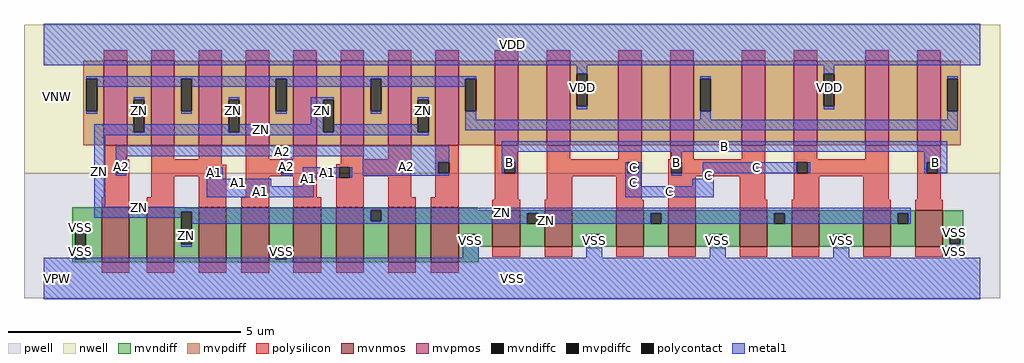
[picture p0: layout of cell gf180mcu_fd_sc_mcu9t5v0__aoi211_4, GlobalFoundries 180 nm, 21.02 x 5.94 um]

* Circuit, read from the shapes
.subckt gf180mcu_fd_sc_mcu9t5v0__aoi211_4 A1 A2 B C ZN VDD VNW VPW VSS
XM1 n1 A2 VSS VPW nfet_06v0 w=1.185u l=0.6u
XM2 ZN A1 n1 VPW nfet_06v0 w=1.185u l=0.6u
XM3 n2 A1 ZN VPW nfet_06v0 w=1.185u l=0.6u
XM4 VSS A2 n2 VPW nfet_06v0 w=1.185u l=0.6u
XM5 n3 A2 VSS VPW nfet_06v0 w=1.185u l=0.6u
XM6 ZN A1 n3 VPW nfet_06v0 w=1.185u l=0.6u
XM7 n4 A1 ZN VPW nfet_06v0 w=1.185u l=0.6u
XM8 VSS A2 n4 VPW nfet_06v0 w=1.185u l=0.6u
XM9 ZN B VSS VPW nfet_06v0 w=0.79u l=0.6u m=4
XM10 VSS C ZN VPW nfet_06v0 w=0.79u l=0.6u m=4
XM11 ZN A2 n5 VNW pfet_06v0 w=1.83u l=0.5u m=4
XM12 n5 A1 ZN VNW pfet_06v0 w=1.83u l=0.5u m=4
XM13 n6 B n5 VNW pfet_06v0 w=1.83u l=0.5u
XM14 VDD C n6 VNW pfet_06v0 w=1.83u l=0.5u
XM15 n7 C VDD VNW pfet_06v0 w=1.83u l=0.5u
XM16 n5 B n7 VNW pfet_06v0 w=1.83u l=0.5u
XM17 n8 B n5 VNW pfet_06v0 w=1.83u l=0.5u
XM18 VDD C n8 VNW pfet_06v0 w=1.83u l=0.5u
XM19 n9 C VDD VNW pfet_06v0 w=1.83u l=0.5u
XM20 n5 B n9 VNW pfet_06v0 w=1.83u l=0.5u
.ends

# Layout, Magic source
magic
tech gf180mcuD
magscale 1 10
<< nwell >>
rect -86 453 4118 1094
<< pwell >>
rect -86 -86 4118 453
<< mvnmos >>
rect 248 69 368 306
rect 442 69 562 306
rect 666 69 786 306
rect 850 69 970 306
rect 1074 69 1194 306
rect 1258 69 1378 306
rect 1482 69 1602 306
rect 1666 69 1786 306
rect 1932 137 2052 295
rect 2156 137 2276 295
rect 2464 137 2584 295
rect 2688 137 2808 295
rect 2996 137 3116 295
rect 3220 137 3340 295
rect 3528 137 3648 295
rect 3752 137 3872 295
<< mvpmos >>
rect 258 573 358 939
rect 462 573 562 939
rect 666 573 766 939
rect 870 573 970 939
rect 1074 573 1174 939
rect 1278 573 1378 939
rect 1482 573 1582 939
rect 1686 573 1786 939
rect 1942 573 2042 939
rect 2166 573 2266 939
rect 2474 573 2574 939
rect 2698 573 2798 939
rect 3006 573 3106 939
rect 3230 573 3330 939
rect 3538 573 3638 939
rect 3762 573 3862 939
<< mvndiff >>
rect 122 222 248 306
rect 122 82 135 222
rect 181 82 248 222
rect 122 69 248 82
rect 368 69 442 306
rect 562 287 666 306
rect 562 147 591 287
rect 637 147 666 287
rect 562 69 666 147
rect 786 69 850 306
rect 970 128 1074 306
rect 970 82 999 128
rect 1045 82 1074 128
rect 970 69 1074 82
rect 1194 69 1258 306
rect 1378 293 1482 306
rect 1378 247 1407 293
rect 1453 247 1482 293
rect 1378 69 1482 247
rect 1602 69 1666 306
rect 1786 295 1866 306
rect 1786 190 1932 295
rect 1786 144 1815 190
rect 1861 144 1932 190
rect 1786 137 1932 144
rect 2052 282 2156 295
rect 2052 236 2081 282
rect 2127 236 2156 282
rect 2052 137 2156 236
rect 2276 190 2464 295
rect 2276 144 2347 190
rect 2393 144 2464 190
rect 2276 137 2464 144
rect 2584 282 2688 295
rect 2584 236 2613 282
rect 2659 236 2688 282
rect 2584 137 2688 236
rect 2808 190 2996 295
rect 2808 144 2879 190
rect 2925 144 2996 190
rect 2808 137 2996 144
rect 3116 282 3220 295
rect 3116 236 3145 282
rect 3191 236 3220 282
rect 3116 137 3220 236
rect 3340 190 3528 295
rect 3340 144 3411 190
rect 3457 144 3528 190
rect 3340 137 3528 144
rect 3648 282 3752 295
rect 3648 236 3677 282
rect 3723 236 3752 282
rect 3648 137 3752 236
rect 3872 196 3960 295
rect 3872 150 3901 196
rect 3947 150 3960 196
rect 3872 137 3960 150
rect 1786 69 1872 137
rect 2336 131 2404 137
rect 2868 131 2936 137
rect 3400 131 3468 137
<< mvpdiff >>
rect 170 861 258 939
rect 170 721 183 861
rect 229 721 258 861
rect 170 573 258 721
rect 358 769 462 939
rect 358 629 387 769
rect 433 629 462 769
rect 358 573 462 629
rect 562 861 666 939
rect 562 721 591 861
rect 637 721 666 861
rect 562 573 666 721
rect 766 769 870 939
rect 766 629 795 769
rect 841 629 870 769
rect 766 573 870 629
rect 970 861 1074 939
rect 970 721 999 861
rect 1045 721 1074 861
rect 970 573 1074 721
rect 1174 769 1278 939
rect 1174 629 1203 769
rect 1249 629 1278 769
rect 1174 573 1278 629
rect 1378 861 1482 939
rect 1378 721 1407 861
rect 1453 721 1482 861
rect 1378 573 1482 721
rect 1582 769 1686 939
rect 1582 629 1611 769
rect 1657 629 1686 769
rect 1582 573 1686 629
rect 1786 861 1942 939
rect 1786 721 1815 861
rect 1861 721 1942 861
rect 1786 573 1942 721
rect 2042 573 2166 939
rect 2266 881 2474 939
rect 2266 741 2295 881
rect 2341 741 2474 881
rect 2266 573 2474 741
rect 2574 573 2698 939
rect 2798 861 3006 939
rect 2798 721 2827 861
rect 2873 721 3006 861
rect 2798 573 3006 721
rect 3106 573 3230 939
rect 3330 881 3538 939
rect 3330 741 3359 881
rect 3405 741 3538 881
rect 3330 573 3538 741
rect 3638 573 3762 939
rect 3862 861 3950 939
rect 3862 721 3891 861
rect 3937 721 3950 861
rect 3862 573 3950 721
<< mvndiffc >>
rect 135 82 181 222
rect 591 147 637 287
rect 999 82 1045 128
rect 1407 247 1453 293
rect 1815 144 1861 190
rect 2081 236 2127 282
rect 2347 144 2393 190
rect 2613 236 2659 282
rect 2879 144 2925 190
rect 3145 236 3191 282
rect 3411 144 3457 190
rect 3677 236 3723 282
rect 3901 150 3947 196
<< mvpdiffc >>
rect 183 721 229 861
rect 387 629 433 769
rect 591 721 637 861
rect 795 629 841 769
rect 999 721 1045 861
rect 1203 629 1249 769
rect 1407 721 1453 861
rect 1611 629 1657 769
rect 1815 721 1861 861
rect 2295 741 2341 881
rect 2827 721 2873 861
rect 3359 741 3405 881
rect 3891 721 3937 861
<< polysilicon >>
rect 258 939 358 983
rect 462 939 562 983
rect 666 939 766 983
rect 870 939 970 983
rect 1074 939 1174 983
rect 1278 939 1378 983
rect 1482 939 1582 983
rect 1686 939 1786 983
rect 1942 939 2042 983
rect 2166 939 2266 983
rect 2474 939 2574 983
rect 2698 939 2798 983
rect 3006 939 3106 983
rect 3230 939 3330 983
rect 3538 939 3638 983
rect 3762 939 3862 983
rect 258 513 358 573
rect 462 513 562 573
rect 666 513 766 573
rect 258 500 368 513
rect 258 454 309 500
rect 355 454 368 500
rect 258 350 368 454
rect 462 491 766 513
rect 870 513 970 573
rect 1074 513 1174 573
rect 870 500 1174 513
rect 462 480 786 491
rect 462 441 713 480
rect 462 350 562 441
rect 248 306 368 350
rect 442 306 562 350
rect 666 434 713 441
rect 759 434 786 480
rect 666 306 786 434
rect 870 454 1023 500
rect 1069 454 1174 500
rect 1278 513 1378 573
rect 1482 513 1582 573
rect 1278 493 1582 513
rect 870 441 1174 454
rect 870 350 970 441
rect 850 306 970 350
rect 1074 350 1174 441
rect 1258 480 1582 493
rect 1258 434 1271 480
rect 1317 441 1582 480
rect 1317 434 1378 441
rect 1074 306 1194 350
rect 1258 306 1378 434
rect 1482 350 1582 441
rect 1686 500 1786 573
rect 1686 454 1699 500
rect 1745 454 1786 500
rect 1686 350 1786 454
rect 1482 306 1602 350
rect 1666 306 1786 350
rect 1942 500 2042 573
rect 1942 454 1983 500
rect 2029 454 2042 500
rect 1942 339 2042 454
rect 2166 513 2266 573
rect 2474 513 2574 573
rect 2698 513 2798 573
rect 3006 513 3106 573
rect 2166 500 2574 513
rect 2166 454 2515 500
rect 2561 454 2574 500
rect 2166 441 2574 454
rect 2166 339 2276 441
rect 1932 295 2052 339
rect 2156 295 2276 339
rect 2464 339 2574 441
rect 2688 500 3106 513
rect 2688 454 2701 500
rect 2747 454 3106 500
rect 2688 441 3106 454
rect 2464 295 2584 339
rect 2688 295 2808 441
rect 2996 339 3106 441
rect 3230 513 3330 573
rect 3538 513 3638 573
rect 3230 500 3638 513
rect 3230 454 3243 500
rect 3289 454 3638 500
rect 3230 441 3638 454
rect 3230 339 3340 441
rect 2996 295 3116 339
rect 3220 295 3340 339
rect 3528 339 3638 441
rect 3762 500 3862 573
rect 3762 454 3803 500
rect 3849 454 3862 500
rect 3762 339 3862 454
rect 3528 295 3648 339
rect 3752 295 3872 339
rect 1932 93 2052 137
rect 2156 93 2276 137
rect 2464 93 2584 137
rect 2688 93 2808 137
rect 2996 93 3116 137
rect 3220 93 3340 137
rect 3528 93 3648 137
rect 3752 93 3872 137
rect 248 25 368 69
rect 442 25 562 69
rect 666 25 786 69
rect 850 25 970 69
rect 1074 25 1194 69
rect 1258 25 1378 69
rect 1482 25 1602 69
rect 1666 25 1786 69
<< polycontact >>
rect 309 454 355 500
rect 713 434 759 480
rect 1023 454 1069 500
rect 1271 434 1317 480
rect 1699 454 1745 500
rect 1983 454 2029 500
rect 2515 454 2561 500
rect 2701 454 2747 500
rect 3243 454 3289 500
rect 3803 454 3849 500
<< metal1 >>
rect 0 918 4032 1098
rect 2295 881 2341 918
rect 183 861 1861 872
rect 229 826 591 861
rect 183 710 229 721
rect 387 769 433 780
rect 217 629 387 664
rect 637 826 999 861
rect 591 710 637 721
rect 795 769 841 780
rect 433 629 795 664
rect 1045 826 1407 861
rect 999 710 1045 721
rect 1150 769 1249 780
rect 1150 664 1203 769
rect 841 629 1203 664
rect 1453 826 1815 861
rect 1407 710 1453 721
rect 1611 769 1657 780
rect 1249 629 1611 664
rect 3359 881 3405 918
rect 2295 730 2341 741
rect 2827 861 2873 872
rect 1815 684 1861 721
rect 3359 730 3405 741
rect 3891 861 3937 872
rect 2827 684 2873 721
rect 3891 684 3937 721
rect 1815 638 3937 684
rect 217 618 1657 629
rect 217 308 263 618
rect 309 526 1745 572
rect 309 500 355 526
rect 1023 500 1069 526
rect 309 443 355 454
rect 702 434 713 480
rect 759 434 770 480
rect 1374 500 1745 526
rect 1023 443 1069 454
rect 702 430 770 434
rect 1115 434 1271 480
rect 1317 434 1328 480
rect 1374 454 1699 500
rect 1972 546 3890 592
rect 1972 500 2040 546
rect 2701 500 2747 546
rect 3792 500 3890 546
rect 1972 454 1983 500
rect 2029 454 2040 500
rect 2504 454 2515 500
rect 2561 454 2572 500
rect 1374 443 1745 454
rect 702 397 978 430
rect 1115 397 1161 434
rect 702 351 1161 397
rect 2504 397 2572 454
rect 2701 443 2747 454
rect 2838 454 3243 500
rect 3289 454 3300 500
rect 3792 454 3803 500
rect 3849 454 3890 500
rect 2838 430 2884 454
rect 2792 397 2884 430
rect 2504 351 2884 397
rect 217 305 608 308
rect 217 293 3734 305
rect 217 287 1407 293
rect 217 262 591 287
rect 135 222 181 233
rect 0 82 135 90
rect 637 247 1407 287
rect 1453 282 3734 293
rect 1453 247 2081 282
rect 637 236 2081 247
rect 2127 236 2613 282
rect 2659 236 3145 282
rect 3191 236 3677 282
rect 3723 236 3734 282
rect 3901 196 3947 207
rect 591 136 637 147
rect 1804 144 1815 190
rect 1861 144 1872 190
rect 999 128 1045 139
rect 181 82 999 90
rect 1804 90 1872 144
rect 2336 144 2347 190
rect 2393 144 2404 190
rect 2336 90 2404 144
rect 2868 144 2879 190
rect 2925 144 2936 190
rect 2868 90 2936 144
rect 3400 144 3411 190
rect 3457 144 3468 190
rect 3400 90 3468 144
rect 3901 90 3947 150
rect 1045 82 4032 90
rect 0 -90 4032 82
<< labels >>
flabel metal1 s 1115 434 1328 480 0 FreeSans 200 0 0 0 A1
port 1 nsew default input
flabel metal1 s 309 526 1745 572 0 FreeSans 200 0 0 0 A2
port 2 nsew default input
flabel metal1 s 1972 546 3890 592 0 FreeSans 200 0 0 0 B
port 3 nsew default input
flabel metal1 s 2838 454 3300 500 0 FreeSans 200 0 0 0 C
port 4 nsew default input
flabel metal1 s 0 918 4032 1098 0 FreeSans 200 0 0 0 VDD
port 6 nsew power bidirectional abutment
flabel metal1 s 135 207 181 233 0 FreeSans 200 0 0 0 VSS
port 9 nsew ground bidirectional abutment
flabel metal1 s 1611 664 1657 780 0 FreeSans 200 0 0 0 ZN
port 5 nsew default output
flabel nwell s 10 734 110 834 0 FreeSans 400 0 0 0 VNW
port 7 nsew power bidirectional
flabel pwell s 10 -50 110 50 0 FreeSans 400 0 0 0 VPW
port 8 nsew ground bidirectional
rlabel metal1 s 702 434 770 480 1 A1
port 1 nsew default input
rlabel metal1 s 1115 430 1161 434 1 A1
port 1 nsew default input
rlabel metal1 s 702 430 770 434 1 A1
port 1 nsew default input
rlabel metal1 s 1115 397 1161 430 1 A1
port 1 nsew default input
rlabel metal1 s 702 397 978 430 1 A1
port 1 nsew default input
rlabel metal1 s 702 351 1161 397 1 A1
port 1 nsew default input
rlabel metal1 s 1374 443 1745 526 1 A2
port 2 nsew default input
rlabel metal1 s 1023 443 1069 526 1 A2
port 2 nsew default input
rlabel metal1 s 309 443 355 526 1 A2
port 2 nsew default input
rlabel metal1 s 3792 454 3890 546 1 B
port 3 nsew default input
rlabel metal1 s 2701 454 2747 546 1 B
port 3 nsew default input
rlabel metal1 s 1972 454 2040 546 1 B
port 3 nsew default input
rlabel metal1 s 2701 443 2747 454 1 B
port 3 nsew default input
rlabel metal1 s 2504 454 2572 500 1 C
port 4 nsew default input
rlabel metal1 s 2838 430 2884 454 1 C
port 4 nsew default input
rlabel metal1 s 2504 430 2572 454 1 C
port 4 nsew default input
rlabel metal1 s 2792 397 2884 430 1 C
port 4 nsew default input
rlabel metal1 s 2504 397 2572 430 1 C
port 4 nsew default input
rlabel metal1 s 2504 351 2884 397 1 C
port 4 nsew default input
rlabel metal1 s 1150 664 1249 780 1 ZN
port 5 nsew default output
rlabel metal1 s 795 664 841 780 1 ZN
port 5 nsew default output
rlabel metal1 s 387 664 433 780 1 ZN
port 5 nsew default output
rlabel metal1 s 217 618 1657 664 1 ZN
port 5 nsew default output
rlabel metal1 s 217 308 263 618 1 ZN
port 5 nsew default output
rlabel metal1 s 217 305 608 308 1 ZN
port 5 nsew default output
rlabel metal1 s 217 262 3734 305 1 ZN
port 5 nsew default output
rlabel metal1 s 591 236 3734 262 1 ZN
port 5 nsew default output
rlabel metal1 s 591 136 637 236 1 ZN
port 5 nsew default output
rlabel metal1 s 3359 730 3405 918 1 VDD
port 6 nsew power bidirectional abutment
rlabel metal1 s 2295 730 2341 918 1 VDD
port 6 nsew power bidirectional abutment
rlabel metal1 s 3901 190 3947 207 1 VSS
port 9 nsew ground bidirectional abutment
rlabel metal1 s 135 190 181 207 1 VSS
port 9 nsew ground bidirectional abutment
rlabel metal1 s 3901 139 3947 190 1 VSS
port 9 nsew ground bidirectional abutment
rlabel metal1 s 3400 139 3468 190 1 VSS
port 9 nsew ground bidirectional abutment
rlabel metal1 s 2868 139 2936 190 1 VSS
port 9 nsew ground bidirectional abutment
rlabel metal1 s 2336 139 2404 190 1 VSS
port 9 nsew ground bidirectional abutment
rlabel metal1 s 1804 139 1872 190 1 VSS
port 9 nsew ground bidirectional abutment
rlabel metal1 s 135 139 181 190 1 VSS
port 9 nsew ground bidirectional abutment
rlabel metal1 s 3901 90 3947 139 1 VSS
port 9 nsew ground bidirectional abutment
rlabel metal1 s 3400 90 3468 139 1 VSS
port 9 nsew ground bidirectional abutment
rlabel metal1 s 2868 90 2936 139 1 VSS
port 9 nsew ground bidirectional abutment
rlabel metal1 s 2336 90 2404 139 1 VSS
port 9 nsew ground bidirectional abutment
rlabel metal1 s 1804 90 1872 139 1 VSS
port 9 nsew ground bidirectional abutment
rlabel metal1 s 999 90 1045 139 1 VSS
port 9 nsew ground bidirectional abutment
rlabel metal1 s 135 90 181 139 1 VSS
port 9 nsew ground bidirectional abutment
rlabel metal1 s 0 -90 4032 90 1 VSS
port 9 nsew ground bidirectional abutment
<< properties >>
string FIXED_BBOX 0 0 4032 1008
string GDS_END 1214938
string GDS_FILE $PDKPATH/libs.ref/gf180mcu_fd_sc_mcu9t5v0/gds/gf180mcu_fd_sc_mcu9t5v0.gds
string GDS_START 1207306
string LEFclass core
string LEFsite GF018hv5v_green_sc9
string LEFsymmetry X Y
<< end >>
